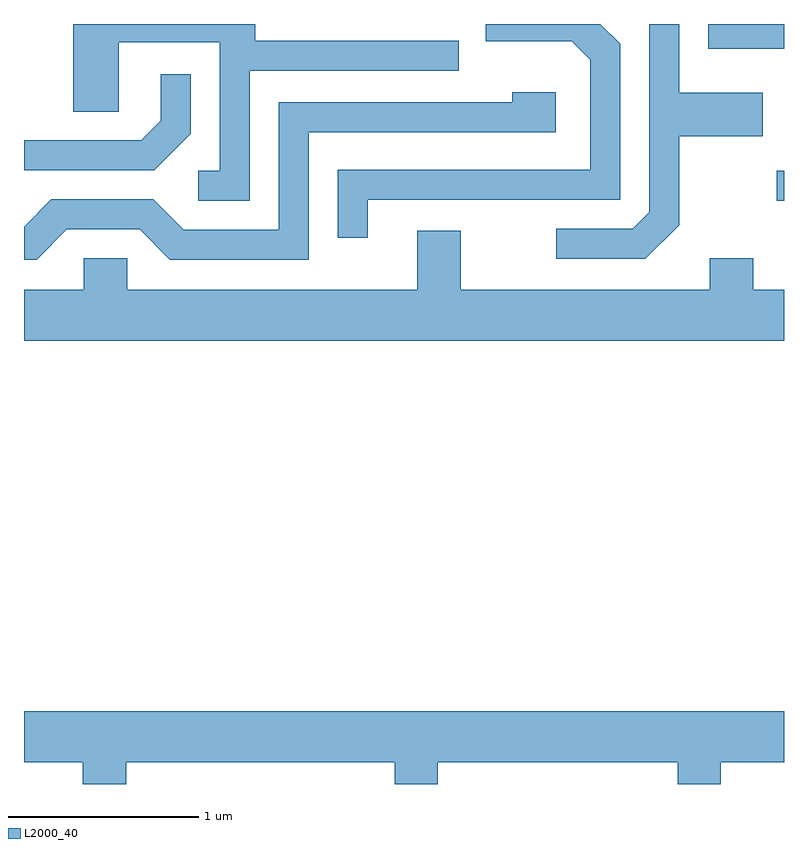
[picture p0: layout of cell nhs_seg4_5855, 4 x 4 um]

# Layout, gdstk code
import gdstk
lib = gdstk.Library(unit=1e-6, precision=1e-09)
def R(c, l, rs):  # rectangles x0, y0, x1, y1
    for r in rs: c.add(gdstk.rectangle(r[:2], r[2:], *l))
def P(c, l, *ps):  # polygons
    for p in ps: c.add(gdstk.Polygon(p, *l))
L2000_40 = (2000, 40)

nhs_seg4_5855 = lib.new_cell('nhs_seg4_5855')
R(nhs_seg4_5855, L2000_40, [(361.573,1271.051,361.611,1271.209), (361.211,1271.851,361.611,1271.982)])
P(nhs_seg4_5855, L2000_40, [(359.419,1271.056),(360.749,1271.056),(360.749,1271.877),(360.644,1271.982),(360.041,1271.982),(360.041,1271.891),(360.494,1271.891),(360.591,1271.794),(360.591,1271.214),(359.261,1271.214),(359.261,1270.858),(359.419,1270.858)],
  [(358.799,1271.736),(359.898,1271.736),(359.898,1271.894),(358.829,1271.894),(358.829,1271.982),(357.871,1271.982),(357.871,1271.521),(358.109,1271.521),(358.109,1271.886),(358.641,1271.886),(358.641,1271.209),(358.528,1271.209),(358.528,1271.051),(358.799,1271.051)],
  [(361.059,1270.924),(361.059,1271.391),(361.499,1271.391),(361.499,1271.619),(361.059,1271.619),(361.059,1271.982),(360.901,1271.982),(360.901,1270.992),(360.814,1270.904),(360.413,1270.904),(360.413,1270.746),(360.882,1270.746)],
  [(358.489,1271.404),(358.489,1271.718),(358.331,1271.718),(358.331,1271.472),(358.229,1271.369),(357.611,1271.369),(357.611,1271.211),(358.297,1271.211)],
  [(357.837,1270.901),(358.219,1270.901),(358.379,1270.741),(359.109,1270.741),(359.109,1271.411),(360.409,1271.411),(360.409,1271.624),(360.181,1271.624),(360.181,1271.569),(358.951,1271.569),(358.951,1270.899),(358.452,1270.899),(358.292,1271.059),(357.754,1271.059),(357.611,1270.916),(357.611,1270.741),(357.677,1270.741)],
  [(361.611,1270.584),(361.449,1270.584),(361.449,1270.749),(361.221,1270.749),(361.221,1270.584),(359.909,1270.584),(359.909,1270.894),(359.681,1270.894),(359.681,1270.584),(358.154,1270.584),(358.154,1270.749),(357.926,1270.749),(357.926,1270.584),(357.611,1270.584),(357.611,1270.316),(361.611,1270.316)],
  [(358.149,1268.096),(359.561,1268.096),(359.561,1267.982),(359.789,1267.982),(359.789,1268.096),(361.051,1268.096),(361.051,1267.982),(361.279,1267.982),(361.279,1268.096),(361.611,1268.096),(361.611,1268.364),(357.611,1268.364),(357.611,1268.096),(357.921,1268.096),(357.921,1267.982),(358.149,1267.982)])

lib.write_gds('nhs_seg4_5855.gds')
